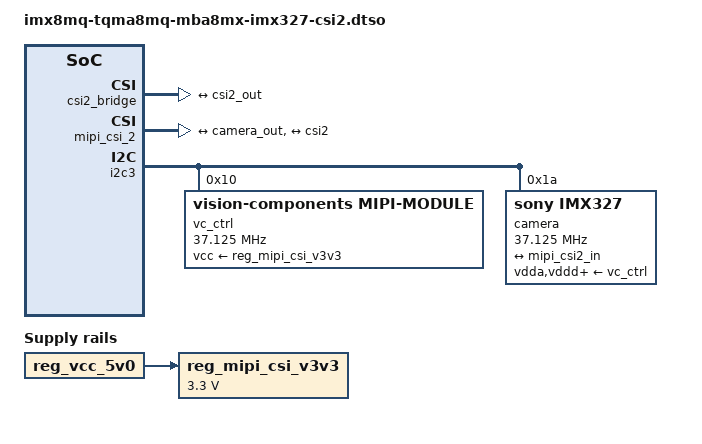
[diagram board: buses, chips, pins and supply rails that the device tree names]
// SPDX-License-Identifier: (GPL-2.0-or-later OR MIT)
/*
 * Copyright (c) 2021-2024 TQ-Systems GmbH <linux@ew.tq-group.com>,
 * D-82229 Seefeld, Germany.
 * Author: Alexander Stein
 */

/dts-v1/;
/plugin/;

#include <dt-bindings/clock/imx8mq-clock.h>

&{/} {
	/* This voltage converter is located on the adapter board MBaxCA */
	reg_mipi_csi_v3v3: regulator-mipi-csi-v3v3 {
		compatible = "regulator-fixed";
		regulator-name = "MIPI_CSI_V_3V3";
		regulator-min-microvolt = <3300000>;
		regulator-max-microvolt = <3300000>;
		vin-supply = <&reg_vcc_5v0>;
	};
};

&csi2_bridge {
	fsl,mipi-mode;
	fsl,two-8bit-sensor-mode;
	status = "okay";

	port {
		csi2: endpoint {
			remote-endpoint = <&csi2_out>;
		};
	};
};

&mipi_csi_2 {
	assigned-clocks = <&clk IMX8MQ_CLK_CSI2_CORE>,
			  <&clk IMX8MQ_CLK_CSI2_PHY_REF>,
			  <&clk IMX8MQ_CLK_CSI2_ESC>;
	assigned-clock-rates = <266000000>, <333000000>, <66000000>;
	status = "okay";

	port {
		#address-cells = <1>;
		#size-cells = <0>;

		mipi_csi2_in: endpoint@0 {
			reg = <0>;
			remote-endpoint = <&camera_out>;
			data-lanes = <1 2>;
		};

		csi2_out: endpoint@1 {
			reg = <1>;
			remote-endpoint = <&csi2>;
		};
	};
};

&i2c3 {
	#address-cells = <1>;
	#size-cells = <0>;

	vc_ctrl: controller@10 {
		compatible = "vision-components,mipi-module";
		reg = <0x10>;
		#clock-cells = <0>;
		vcc-supply = <&reg_mipi_csi_v3v3>;
		clock-frequency = <37125000>;
	};

	camera@1a {
		compatible = "sony,imx327", "sony,imx290";
		reg = <0x1a>;
		clocks = <&vc_ctrl>;
		clock-names = "xclk";
		clock-frequency = <37125000>;
		vdda-supply = <&vc_ctrl>;
		vddd-supply = <&vc_ctrl>;
		vdddo-supply = <&vc_ctrl>;
		orientation = <2>;

		port {
			camera_out: endpoint {
				remote-endpoint = <&mipi_csi2_in>;
				data-lanes = <1 2>;
				clock-lanes = <0>;
				clock-noncontinuous = <1>;
				link-frequencies = /bits/ 64 <445500000 297000000>;
			};
		};
	};
};
